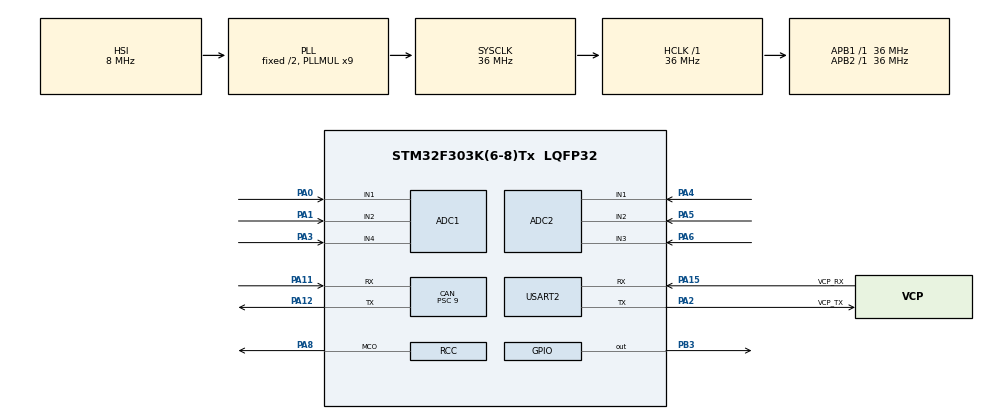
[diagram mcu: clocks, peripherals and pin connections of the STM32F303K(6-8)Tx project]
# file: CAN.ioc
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ADC1.Channel-0\#ChannelRegularConversion=ADC_CHANNEL_1
ADC1.Channel-1\#ChannelRegularConversion=ADC_CHANNEL_2
ADC1.Channel-2\#ChannelRegularConversion=ADC_CHANNEL_4
ADC1.ContinuousConvMode=ENABLE
ADC1.DMAContinuousRequests=ENABLE
ADC1.NbrOfConversion=3
ADC1.NbrOfConversionFlag=1
ADC1.Offset-0\#ChannelRegularConversion=0
ADC1.Offset-1\#ChannelRegularConversion=0
ADC1.Offset-2\#ChannelRegularConversion=0
ADC1.OffsetNumber-0\#ChannelRegularConversion=ADC_OFFSET_NONE
ADC1.OffsetNumber-1\#ChannelRegularConversion=ADC_OFFSET_NONE
ADC1.OffsetNumber-2\#ChannelRegularConversion=ADC_OFFSET_NONE
ADC1.Rank-0\#ChannelRegularConversion=1
ADC1.Rank-1\#ChannelRegularConversion=2
ADC1.Rank-2\#ChannelRegularConversion=3
ADC1.SamplingTime-0\#ChannelRegularConversion=ADC_SAMPLETIME_601CYCLES_5
ADC1.SamplingTime-1\#ChannelRegularConversion=ADC_SAMPLETIME_601CYCLES_5
ADC1.SamplingTime-2\#ChannelRegularConversion=ADC_SAMPLETIME_601CYCLES_5
ADC1.master=1
ADC2.Channel-0\#ChannelRegularConversion=ADC_CHANNEL_1
ADC2.Channel-1\#ChannelRegularConversion=ADC_CHANNEL_2
ADC2.Channel-2\#ChannelRegularConversion=ADC_CHANNEL_3
ADC2.ContinuousConvMode=ENABLE
ADC2.DMAContinuousRequests=ENABLE
ADC2.NbrOfConversion=3
ADC2.NbrOfConversionFlag=1
ADC2.Offset-0\#ChannelRegularConversion=0
ADC2.Offset-1\#ChannelRegularConversion=0
ADC2.Offset-2\#ChannelRegularConversion=0
ADC2.OffsetNumber-0\#ChannelRegularConversion=ADC_OFFSET_NONE
ADC2.OffsetNumber-1\#ChannelRegularConversion=ADC_OFFSET_NONE
ADC2.OffsetNumber-2\#ChannelRegularConversion=ADC_OFFSET_NONE
ADC2.Rank-0\#ChannelRegularConversion=1
ADC2.Rank-1\#ChannelRegularConversion=2
ADC2.Rank-2\#ChannelRegularConversion=3
ADC2.SamplingTime-0\#ChannelRegularConversion=ADC_SAMPLETIME_601CYCLES_5
ADC2.SamplingTime-1\#ChannelRegularConversion=ADC_SAMPLETIME_601CYCLES_5
ADC2.SamplingTime-2\#ChannelRegularConversion=ADC_SAMPLETIME_601CYCLES_5
ADC2.SamplingTimeOPAMP-1\#ChannelRegularConversion=ADC_SAMPLETIME_19CYCLES_5
ADC2.SamplingTimeOPAMP-2\#ChannelRegularConversion=ADC_SAMPLETIME_19CYCLES_5
CAN.BS1=CAN_BS1_3TQ
CAN.BS2=CAN_BS2_4TQ
CAN.CalculateBaudRate=500000
CAN.CalculateTimeBit=2000
CAN.CalculateTimeQuantum=250.0
CAN.Prescaler=9
Dma.ADC1.0.Direction=DMA_PERIPH_TO_MEMORY
Dma.ADC1.0.Instance=DMA1_Channel1
Dma.ADC1.0.MemDataAlignment=DMA_MDATAALIGN_HALFWORD
Dma.ADC1.0.MemInc=DMA_MINC_ENABLE
Dma.ADC1.0.Mode=DMA_CIRCULAR
Dma.ADC1.0.PeriphDataAlignment=DMA_PDATAALIGN_HALFWORD
Dma.ADC1.0.PeriphInc=DMA_PINC_DISABLE
Dma.ADC1.0.Priority=DMA_PRIORITY_LOW
Dma.ADC2.1.Direction=DMA_PERIPH_TO_MEMORY
Dma.ADC2.1.Instance=DMA1_Channel2
Dma.ADC2.1.MemDataAlignment=DMA_MDATAALIGN_HALFWORD
Dma.ADC2.1.MemInc=DMA_MINC_ENABLE
Dma.ADC2.1.Mode=DMA_CIRCULAR
Dma.ADC2.1.PeriphDataAlignment=DMA_PDATAALIGN_HALFWORD
Dma.ADC2.1.PeriphInc=DMA_PINC_DISABLE
Dma.ADC2.1.Priority=DMA_PRIORITY_LOW
Dma.Request0=ADC1
Dma.Request1=ADC2
Mcu.Family=STM32F3
Mcu.Name=STM32F303K(6-8)Tx
Mcu.Package=LQFP32
NVIC.CAN_RX0_IRQn=true\:0\:0\:false\:false\:true\:true\:true\:true
NVIC.DMA1_Channel1_IRQn=true\:0\:0\:false\:false\:true\:false\:true\:true
NVIC.DMA1_Channel2_IRQn=true\:0\:0\:false\:false\:true\:false\:true\:true
NVIC.PriorityGroup=NVIC_PRIORITYGROUP_4
PA0.Mode=IN1-Single-Ended
PA0.Signal=ADC1_IN1
PA1.Mode=IN2-Single-Ended
PA1.Signal=ADC1_IN2
PA11.GPIO_PuPd=GPIO_PULLUP
PA11.Mode=CAN_Activate
PA11.Signal=CAN_RX
PA12.Mode=CAN_Activate
PA12.Signal=CAN_TX
PA13.GPIO_Label=SWDIO
PA13.Mode=Serial_Wire
PA13.Signal=SYS_JTMS-SWDIO
PA14.GPIO_Label=SWCLK
PA14.Mode=Serial_Wire
PA14.Signal=SYS_JTCK-SWCLK
PA15.GPIO_Label=VCP_RX
PA15.Mode=Asynchronous
PA15.Signal=USART2_RX
PA2.GPIO_Label=VCP_TX
PA2.Mode=Asynchronous
PA2.Signal=USART2_TX
PA3.Mode=IN4-Single-Ended
PA3.Signal=ADC1_IN4
PA4.Mode=IN1-Single-Ended
PA4.Signal=ADC2_IN1
PA5.Mode=IN2-Single-Ended
PA5.Signal=ADC2_IN2
PA6.Mode=IN3-Single-Ended
PA6.Signal=ADC2_IN3
PA8.Mode=Clock-out
PA8.Signal=RCC_MCO
PB3.GPIO_Speed=GPIO_SPEED_FREQ_HIGH
PB3.Signal=GPIO_Output
PF0\ /\ OSC_IN.GPIO_Label=MCO
PF0\ /\ OSC_IN.Mode=HSE-External-Oscillator
PF0\ /\ OSC_IN.Signal=RCC_OSC_IN
PF1\ /\ OSC_OUT.Mode=HSE-External-Oscillator
PF1\ /\ OSC_OUT.Signal=RCC_OSC_OUT
ProjectManager.HeapSize=0x200
ProjectManager.StackSize=0x400
ProjectManager.TargetToolchain=STM32CubeIDE
RCC.AHBFreq_Value=36000000
RCC.APB1Freq_Value=36000000
RCC.APB1TimFreq_Value=36000000
RCC.APB2Freq_Value=36000000
RCC.APB2TimFreq_Value=36000000
RCC.CortexFreq_Value=36000000
RCC.HCLKFreq_Value=36000000
RCC.HSE_VALUE=8000000
RCC.HSI_VALUE=8000000
RCC.PLLMUL=RCC_PLL_MUL9
RCC.SYSCLKFreq_VALUE=36000000
RCC.SYSCLKSourceVirtual=RCC_SYSCLKSOURCE_PLLCLK
USART2.VirtualMode-Asynchronous=VM_ASYNC
board=NUCLEO-F303K8

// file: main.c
/* USER CODE BEGIN Header */
/**
  ******************************************************************************
  * @file           : main.c
  * @brief          : Main program body
  ******************************************************************************
  * @attention
  *
  * Copyright (c) 2023 STMicroelectronics.
  * All rights reserved.
  *
  * This software is licensed under terms that can be found in the LICENSE file
  * in the root directory of this software component.
  * If no LICENSE file comes with this software, it is provided AS-IS.
  *
  ******************************************************************************
  */
/* USER CODE END Header */
#include "main.h"

/* USER CODE BEGIN Includes */
#include <stdio.h>
#include "retarget.h"
#include "string.h"

/* USER CODE END Includes */

ADC_HandleTypeDef hadc1;
ADC_HandleTypeDef hadc2;
DMA_HandleTypeDef hdma_adc1;
DMA_HandleTypeDef hdma_adc2;

CAN_HandleTypeDef hcan;

UART_HandleTypeDef huart2;

/* USER CODE BEGIN PV */
CAN_RxHeaderTypeDef rxHeader; //CAN Bus Transmit Header
CAN_TxHeaderTypeDef txHeader; //CAN Bus Receive Header
double canRX[8] ;  //CAN Bus Receive Buffer
CAN_FilterTypeDef canfil; //CAN Bus Filter
double canMailbox; //CAN Bus Mail box variable

uint16_t VR[3];
uint16_t VR2[3];
char	txBuf[50];
int loop;
double readVoltage[3] ;
double readVoltage2[3] ;

double csend[6];

/* USER CODE END PV */

void SystemClock_Config(void);
static void MX_GPIO_Init(void);
static void MX_DMA_Init(void);
static void MX_USART2_UART_Init(void);
static void MX_CAN_Init(void);
static void MX_ADC1_Init(void);
static void MX_ADC2_Init(void);

int main(void)
{

  /* MCU Configuration--------------------------------------------------------*/

  /* Reset of all peripherals, Initializes the Flash interface and the Systick. */
  HAL_Init();

  /* Configure the system clock */
  SystemClock_Config();

  /* Initialize all configured peripherals */
  MX_GPIO_Init();
  MX_DMA_Init();
  MX_USART2_UART_Init();
  MX_CAN_Init();
  MX_ADC1_Init();
  MX_ADC2_Init();
  /* USER CODE BEGIN 2 */
  canfil.FilterBank = 0;
  canfil.FilterMode = CAN_FILTERMODE_IDMASK;
  canfil.FilterFIFOAssignment = CAN_RX_FIFO0;
  canfil.FilterIdHigh = 0;
  canfil.FilterIdLow = 0;
  canfil.FilterMaskIdHigh = 0;
  canfil.FilterMaskIdLow = 0;
  canfil.FilterScale = CAN_FILTERSCALE_32BIT;
  canfil.FilterActivation = ENABLE;
  canfil.SlaveStartFilterBank = 14;

  txHeader.DLC = 6;
  txHeader.IDE = CAN_ID_STD;
  txHeader.RTR = CAN_RTR_DATA;
  txHeader.StdId = 0x030;
  txHeader.ExtId = 0x02;
  txHeader.TransmitGlobalTime = DISABLE;

  HAL_ADC_Start_DMA(&hadc1, (uint32_t*)VR, 3);  // start adc in dma mode for multichannel
   HAL_ADC_Start_DMA(&hadc2, (uint32_t*)VR2, 3);

  HAL_CAN_ConfigFilter(&hcan,&canfil);
  HAL_CAN_Start(&hcan);
  HAL_CAN_ActivateNotification(&hcan,CAN_IT_RX_FIFO0_MSG_PENDING);
  RetargetInit(&huart2);
  /* USER CODE END 2 */

  /* Infinite loop */
  /* USER CODE BEGIN WHILE */
  while (1)
  {
	  for (int i=0; i<3;i++)
	  	  	  	 {
	  		  	  	  readVoltage[i] = ((double)VR[i]/4095)*3.3;
	  		  	  	  csend[i]=readVoltage[i];
	  	  	  	  }
	  	  printf (" Seg1 = %.3lfV\tSeg2 = %.3lfV\tSeg3 =%.3lfV\r\n", readVoltage[0],readVoltage[1],readVoltage[2]);
	    	  for (int e=0; e<3;e++)
	    	  	  	 {
	    		  	  	  readVoltage2[e] = ((double)VR2[e]/4095)*3.3;
	    			  }
	    	  printf (" Seg4 = %.3lfV\tSeg5 = %.3lfV\tSeg6 =%.3lfV\r\n", readVoltage2[0],readVoltage2[1],readVoltage2[2]);
	    	  csend[3]=readVoltage[3];
	    	  csend[4]=readVoltage[4];
	    	  csend[5]=readVoltage[5];
	  HAL_CAN_AddTxMessage(&hcan,&txHeader,csend,&canMailbox);
	  HAL_Delay(1000);

	  for (loop = 0; loop<6; loop++)
	  	  		  	 printf ("%.3lf ", csend[loop]);
	  HAL_GPIO_TogglePin (GPIOB, GPIO_PIN_3);
	  HAL_Delay (100);   /* Insert delay 100 ms */
    /* USER CODE END WHILE */

  }
}

void SystemClock_Config(void)
{
  RCC_OscInitTypeDef RCC_OscInitStruct = {0};
  RCC_ClkInitTypeDef RCC_ClkInitStruct = {0};
  RCC_PeriphCLKInitTypeDef PeriphClkInit = {0};

  /** Initializes the RCC Oscillators according to the specified parameters
  * in the RCC_OscInitTypeDef structure.
  */
  RCC_OscInitStruct.OscillatorType = RCC_OSCILLATORTYPE_HSI;
  RCC_OscInitStruct.HSIState = RCC_HSI_ON;
  RCC_OscInitStruct.HSICalibrationValue = RCC_HSICALIBRATION_DEFAULT;
  RCC_OscInitStruct.PLL.PLLState = RCC_PLL_ON;
  RCC_OscInitStruct.PLL.PLLSource = RCC_PLLSOURCE_HSI;
  RCC_OscInitStruct.PLL.PLLMUL = RCC_PLL_MUL9;
  if (HAL_RCC_OscConfig(&RCC_OscInitStruct) != HAL_OK)
  {
    Error_Handler();
  }

  /** Initializes the CPU, AHB and APB buses clocks
  */
  RCC_ClkInitStruct.ClockType = RCC_CLOCKTYPE_HCLK|RCC_CLOCKTYPE_SYSCLK
                              |RCC_CLOCKTYPE_PCLK1|RCC_CLOCKTYPE_PCLK2;
  RCC_ClkInitStruct.SYSCLKSource = RCC_SYSCLKSOURCE_PLLCLK;
  RCC_ClkInitStruct.AHBCLKDivider = RCC_SYSCLK_DIV1;
  RCC_ClkInitStruct.APB1CLKDivider = RCC_HCLK_DIV1;
  RCC_ClkInitStruct.APB2CLKDivider = RCC_HCLK_DIV1;

  if (HAL_RCC_ClockConfig(&RCC_ClkInitStruct, FLASH_LATENCY_1) != HAL_OK)
  {
    Error_Handler();
  }
  PeriphClkInit.PeriphClockSelection = RCC_PERIPHCLK_ADC12;
  PeriphClkInit.Adc12ClockSelection = RCC_ADC12PLLCLK_DIV1;
  if (HAL_RCCEx_PeriphCLKConfig(&PeriphClkInit) != HAL_OK)
  {
    Error_Handler();
  }
  HAL_RCC_MCOConfig(RCC_MCO, RCC_MCO1SOURCE_SYSCLK, RCC_MCODIV_1);
}

static void MX_ADC1_Init(void)
{

  ADC_MultiModeTypeDef multimode = {0};
  ADC_ChannelConfTypeDef sConfig = {0};

  /** Common config
  */
  hadc1.Instance = ADC1;
  hadc1.Init.ClockPrescaler = ADC_CLOCK_ASYNC_DIV1;
  hadc1.Init.Resolution = ADC_RESOLUTION_12B;
  hadc1.Init.ScanConvMode = ADC_SCAN_ENABLE;
  hadc1.Init.ContinuousConvMode = ENABLE;
  hadc1.Init.DiscontinuousConvMode = DISABLE;
  hadc1.Init.ExternalTrigConvEdge = ADC_EXTERNALTRIGCONVEDGE_NONE;
  hadc1.Init.ExternalTrigConv = ADC_SOFTWARE_START;
  hadc1.Init.DataAlign = ADC_DATAALIGN_RIGHT;
  hadc1.Init.NbrOfConversion = 3;
  hadc1.Init.DMAContinuousRequests = ENABLE;
  hadc1.Init.EOCSelection = ADC_EOC_SINGLE_CONV;
  hadc1.Init.LowPowerAutoWait = DISABLE;
  hadc1.Init.Overrun = ADC_OVR_DATA_OVERWRITTEN;
  if (HAL_ADC_Init(&hadc1) != HAL_OK)
  {
    Error_Handler();
  }

  /** Configure the ADC multi-mode
  */
  multimode.Mode = ADC_MODE_INDEPENDENT;
  if (HAL_ADCEx_MultiModeConfigChannel(&hadc1, &multimode) != HAL_OK)
  {
    Error_Handler();
  }

  /** Configure Regular Channel
  */
  sConfig.Channel = ADC_CHANNEL_1;
  sConfig.Rank = ADC_REGULAR_RANK_1;
  sConfig.SingleDiff = ADC_SINGLE_ENDED;
  sConfig.SamplingTime = ADC_SAMPLETIME_601CYCLES_5;
  sConfig.OffsetNumber = ADC_OFFSET_NONE;
  sConfig.Offset = 0;
  if (HAL_ADC_ConfigChannel(&hadc1, &sConfig) != HAL_OK)
  {
    Error_Handler();
  }

  /** Configure Regular Channel
  */
  sConfig.Channel = ADC_CHANNEL_2;
  sConfig.Rank = ADC_REGULAR_RANK_2;
  if (HAL_ADC_ConfigChannel(&hadc1, &sConfig) != HAL_OK)
  {
    Error_Handler();
  }

  /** Configure Regular Channel
  */
  sConfig.Channel = ADC_CHANNEL_4;
  sConfig.Rank = ADC_REGULAR_RANK_3;
  if (HAL_ADC_ConfigChannel(&hadc1, &sConfig) != HAL_OK)
  {
    Error_Handler();
  }

}

static void MX_ADC2_Init(void)
{

  ADC_ChannelConfTypeDef sConfig = {0};

  /** Common config
  */
  hadc2.Instance = ADC2;
  hadc2.Init.ClockPrescaler = ADC_CLOCK_ASYNC_DIV1;
  hadc2.Init.Resolution = ADC_RESOLUTION_12B;
  hadc2.Init.ScanConvMode = ADC_SCAN_ENABLE;
  hadc2.Init.ContinuousConvMode = ENABLE;
  hadc2.Init.DiscontinuousConvMode = DISABLE;
  hadc2.Init.ExternalTrigConvEdge = ADC_EXTERNALTRIGCONVEDGE_NONE;
  hadc2.Init.ExternalTrigConv = ADC_SOFTWARE_START;
  hadc2.Init.DataAlign = ADC_DATAALIGN_RIGHT;
  hadc2.Init.NbrOfConversion = 3;
  hadc2.Init.DMAContinuousRequests = ENABLE;
  hadc2.Init.EOCSelection = ADC_EOC_SINGLE_CONV;
  hadc2.Init.LowPowerAutoWait = DISABLE;
  hadc2.Init.Overrun = ADC_OVR_DATA_OVERWRITTEN;
  if (HAL_ADC_Init(&hadc2) != HAL_OK)
  {
    Error_Handler();
  }

  /** Configure Regular Channel
  */
  sConfig.Channel = ADC_CHANNEL_1;
  sConfig.Rank = ADC_REGULAR_RANK_1;
  sConfig.SingleDiff = ADC_SINGLE_ENDED;
  sConfig.SamplingTime = ADC_SAMPLETIME_601CYCLES_5;
  sConfig.OffsetNumber = ADC_OFFSET_NONE;
  sConfig.Offset = 0;
  if (HAL_ADC_ConfigChannel(&hadc2, &sConfig) != HAL_OK)
  {
    Error_Handler();
  }

  /** Configure Regular Channel
  */
  sConfig.Channel = ADC_CHANNEL_2;
  sConfig.Rank = ADC_REGULAR_RANK_2;
  if (HAL_ADC_ConfigChannel(&hadc2, &sConfig) != HAL_OK)
  {
    Error_Handler();
  }

  /** Configure Regular Channel
  */
  sConfig.Channel = ADC_CHANNEL_3;
  sConfig.Rank = ADC_REGULAR_RANK_3;
  if (HAL_ADC_ConfigChannel(&hadc2, &sConfig) != HAL_OK)
  {
    Error_Handler();
  }

}

static void MX_CAN_Init(void)
{

  hcan.Instance = CAN;
  hcan.Init.Prescaler = 9;
  hcan.Init.Mode = CAN_MODE_NORMAL;
  hcan.Init.SyncJumpWidth = CAN_SJW_1TQ;
  hcan.Init.TimeSeg1 = CAN_BS1_3TQ;
  hcan.Init.TimeSeg2 = CAN_BS2_4TQ;
  hcan.Init.TimeTriggeredMode = DISABLE;
  hcan.Init.AutoBusOff = DISABLE;
  hcan.Init.AutoWakeUp = DISABLE;
  hcan.Init.AutoRetransmission = DISABLE;
  hcan.Init.ReceiveFifoLocked = DISABLE;
  hcan.Init.TransmitFifoPriority = DISABLE;
  if (HAL_CAN_Init(&hcan) != HAL_OK)
  {
    Error_Handler();
  }

}

static void MX_USART2_UART_Init(void)
{

  huart2.Instance = USART2;
  huart2.Init.BaudRate = 38400;
  huart2.Init.WordLength = UART_WORDLENGTH_8B;
  huart2.Init.StopBits = UART_STOPBITS_1;
  huart2.Init.Parity = UART_PARITY_NONE;
  huart2.Init.Mode = UART_MODE_TX_RX;
  huart2.Init.HwFlowCtl = UART_HWCONTROL_NONE;
  huart2.Init.OverSampling = UART_OVERSAMPLING_16;
  huart2.Init.OneBitSampling = UART_ONE_BIT_SAMPLE_DISABLE;
  huart2.AdvancedInit.AdvFeatureInit = UART_ADVFEATURE_NO_INIT;
  if (HAL_UART_Init(&huart2) != HAL_OK)
  {
    Error_Handler();
  }

}

static void MX_DMA_Init(void)
{

  /* DMA controller clock enable */
  __HAL_RCC_DMA1_CLK_ENABLE();

  /* DMA interrupt init */
  /* DMA1_Channel1_IRQn interrupt configuration */
  HAL_NVIC_SetPriority(DMA1_Channel1_IRQn, 0, 0);
  HAL_NVIC_EnableIRQ(DMA1_Channel1_IRQn);
  /* DMA1_Channel2_IRQn interrupt configuration */
  HAL_NVIC_SetPriority(DMA1_Channel2_IRQn, 0, 0);
  HAL_NVIC_EnableIRQ(DMA1_Channel2_IRQn);

}

static void MX_GPIO_Init(void)
{
  GPIO_InitTypeDef GPIO_InitStruct = {0};

  /* GPIO Ports Clock Enable */
  __HAL_RCC_GPIOF_CLK_ENABLE();
  __HAL_RCC_GPIOA_CLK_ENABLE();
  __HAL_RCC_GPIOB_CLK_ENABLE();

  /*Configure GPIO pin Output Level */
  HAL_GPIO_WritePin(GPIOB, GPIO_PIN_3, GPIO_PIN_RESET);

  /*Configure GPIO pin : PA8 */
  GPIO_InitStruct.Pin = GPIO_PIN_8;
  GPIO_InitStruct.Mode = GPIO_MODE_AF_PP;
  GPIO_InitStruct.Pull = GPIO_NOPULL;
  GPIO_InitStruct.Speed = GPIO_SPEED_FREQ_LOW;
  GPIO_InitStruct.Alternate = GPIO_AF0_MCO;
  HAL_GPIO_Init(GPIOA, &GPIO_InitStruct);

  /*Configure GPIO pin : PB3 */
  GPIO_InitStruct.Pin = GPIO_PIN_3;
  GPIO_InitStruct.Mode = GPIO_MODE_OUTPUT_PP;
  GPIO_InitStruct.Pull = GPIO_NOPULL;
  GPIO_InitStruct.Speed = GPIO_SPEED_FREQ_HIGH;
  HAL_GPIO_Init(GPIOB, &GPIO_InitStruct);

}

void Error_Handler(void)
{
  __disable_irq();
  while (1)
  {
  }
}
